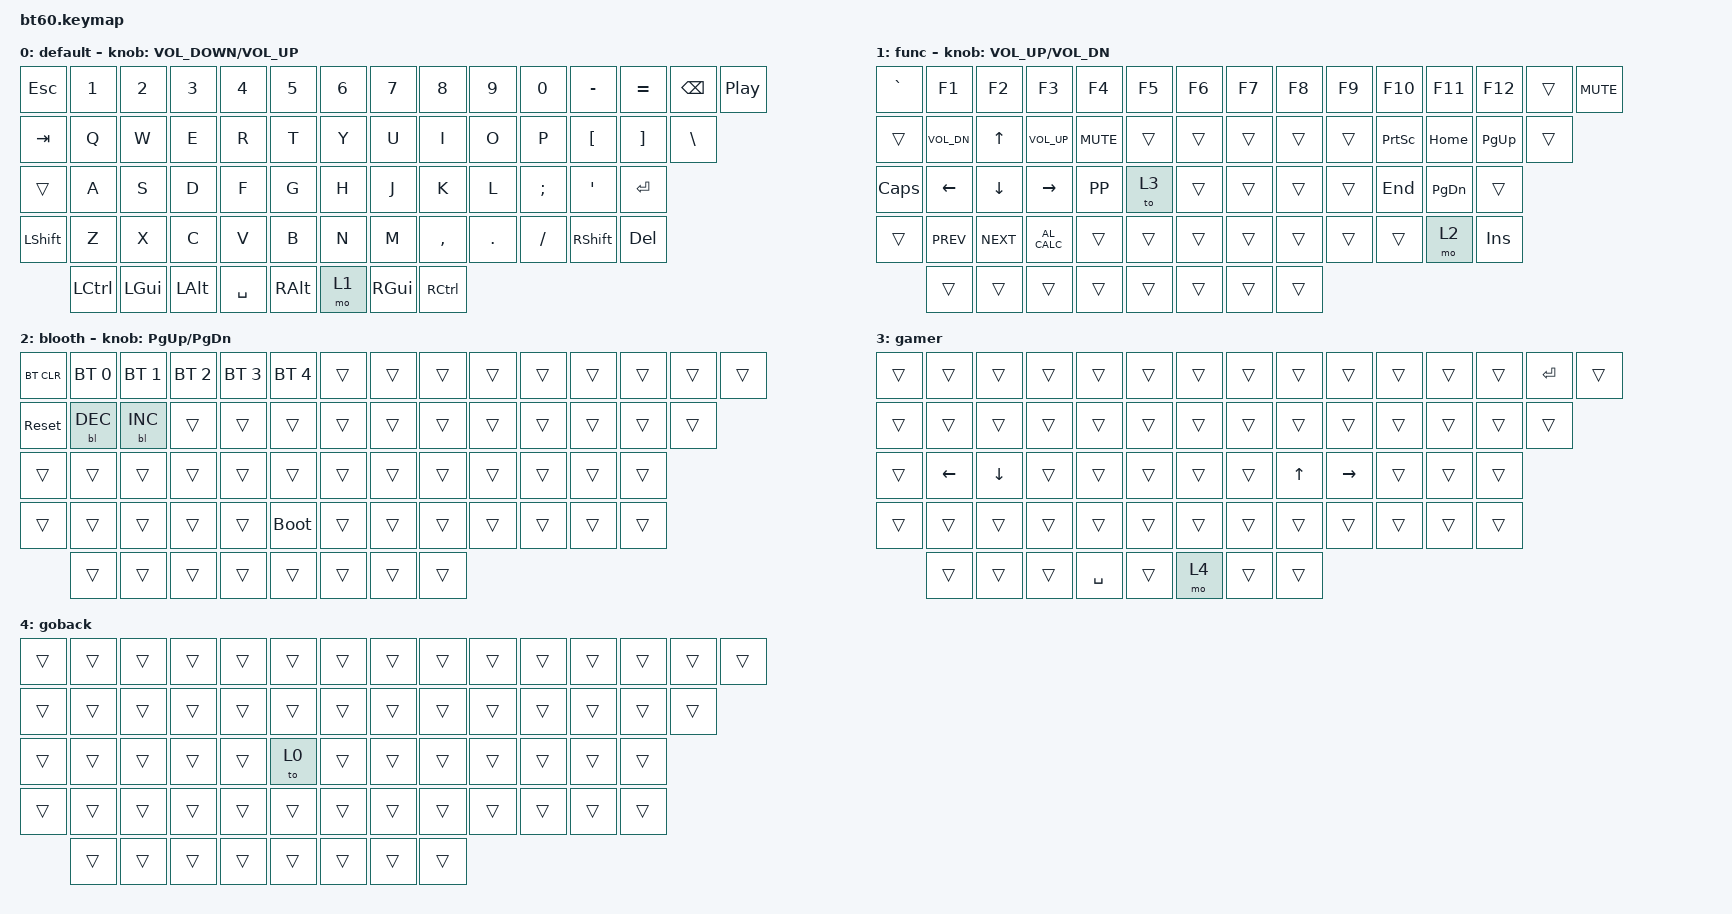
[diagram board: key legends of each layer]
#include <behaviors.dtsi>
#include <dt-bindings/zmk/backlight.h>
#include <dt-bindings/zmk/bt.h>
#include <dt-bindings/zmk/keys.h>

/ {
    keymap {
        compatible = "zmk,keymap";

        default {
            // ------------------------------------------------------------------------------------------
            // | ESC |  1  |  2  |  3  |  4  |  5  |  6  |  7  |  8  |  9  |  0  |  -  |  =  | | |
            // | TAB  |  Q  |  W  |  E  |  R  |  T  |  Y  |  U  |  I  |  O  |  P  |  [  |  ]  |   BKSP |
            // | CAPS  |  A  |  S  |  D  |  F  |  G  |  H  |  J  |  K  |  L  |  ;  |  '  |    ENTER    |
            // |  SHIFT |  Z  |  X  |  C  |  V  |  B  |  N  |  M  |  ,  |  .  | /   |   SHFT   | DEL |
            // |  CTL  |  WIN  |  ALT  |            SPACE              | ALT  | LEFT  |  DOWN |  RIGHT |
            // ------------------------------------------------------------------------------------------

            bindings = <
&kp ESC    &kp N1     &kp N2    &kp N3    &kp N4     &kp N5    &kp N6  &kp N7    &kp N8     &kp N9   &kp N0    &kp MINUS  &kp EQUAL  &kp BACKSPACE  &kp C_PLAY_PAUSE
&kp TAB    &kp Q      &kp W     &kp E     &kp R      &kp T     &kp Y   &kp U     &kp I      &kp O    &kp P     &kp LBKT   &kp RBKT   &kp BSLH
&trans     &kp A      &kp S     &kp D     &kp F      &kp G     &kp H   &kp J     &kp K      &kp L    &kp SEMI  &kp SQT    &kp RET
&kp LSHFT  &kp Z      &kp X     &kp C     &kp V      &kp B     &kp N   &kp M     &kp COMMA  &kp DOT  &kp FSLH  &kp RSHFT  &kp DEL
           &kp LCTRL  &kp LGUI  &kp LALT  &kp SPACE  &kp RALT  &mo 1   &kp RGUI  &kp RCTRL
            >;

            sensor-bindings = <&inc_dec_kp C_VOLUME_DOWN C_VOLUME_UP>;
        };

        func {
            bindings = <
&kp GRAVE  &kp F1        &kp F2      &kp F3         &kp F4      &kp F5  &kp F6  &kp F7  &kp F8  &kp F9  &kp F10    &kp F11    &kp F12    &trans  &kp C_MUTE
&trans     &kp C_VOL_DN  &kp UP      &kp C_VOL_UP   &kp C_MUTE  &trans  &trans  &trans  &trans  &trans  &kp PSCRN  &kp HOME   &kp PG_UP  &trans
&kp CAPS   &kp LEFT      &kp DOWN    &kp RIGHT      &kp K_PP    &to 3   &trans  &trans  &trans  &trans  &kp END    &kp PG_DN  &trans
&trans     &kp K_PREV    &kp K_NEXT  &kp C_AL_CALC  &trans      &trans  &trans  &trans  &trans  &trans  &trans     &mo 2      &kp INS
           &trans        &trans      &trans         &trans      &trans  &trans  &trans  &trans
            >;

            sensor-bindings = <&inc_dec_kp C_VOL_UP C_VOL_DN>;
        };

        blooth {
            bindings = <
&bt BT_CLR  &bt BT_SEL 0  &bt BT_SEL 1  &bt BT_SEL 2  &bt BT_SEL 3  &bt BT_SEL 4  &trans  &trans  &trans  &trans  &trans  &trans  &trans  &trans  &trans
&sys_reset  &bl BL_DEC    &bl BL_INC    &trans        &trans        &trans        &trans  &trans  &trans  &trans  &trans  &trans  &trans  &trans
&trans      &trans        &trans        &trans        &trans        &trans        &trans  &trans  &trans  &trans  &trans  &trans  &trans
&trans      &trans        &trans        &trans        &trans        &bootloader   &trans  &trans  &trans  &trans  &trans  &trans  &trans
            &trans        &trans        &trans        &trans        &trans        &trans  &trans  &trans
            >;

            sensor-bindings = <&inc_dec_kp PAGE_UP PAGE_DOWN>;
        };

        gamer {
            bindings = <
&trans  &trans    &trans    &trans  &trans     &trans  &trans  &trans  &trans  &trans     &trans  &trans  &trans  &kp ENTER  &trans
&trans  &trans    &trans    &trans  &trans     &trans  &trans  &trans  &trans  &trans     &trans  &trans  &trans  &trans
&trans  &kp LEFT  &kp DOWN  &trans  &trans     &trans  &trans  &trans  &kp UP  &kp RIGHT  &trans  &trans  &trans
&trans  &trans    &trans    &trans  &trans     &trans  &trans  &trans  &trans  &trans     &trans  &trans  &trans
        &trans    &trans    &trans  &kp SPACE  &trans  &mo 4   &trans  &trans
            >;
        };

        goback {
            bindings = <
&trans  &trans  &trans  &trans  &trans  &trans  &trans  &trans  &trans  &trans  &trans  &trans  &trans  &trans  &trans
&trans  &trans  &trans  &trans  &trans  &trans  &trans  &trans  &trans  &trans  &trans  &trans  &trans  &trans
&trans  &trans  &trans  &trans  &trans  &to 0   &trans  &trans  &trans  &trans  &trans  &trans  &trans
&trans  &trans  &trans  &trans  &trans  &trans  &trans  &trans  &trans  &trans  &trans  &trans  &trans
        &trans  &trans  &trans  &trans  &trans  &trans  &trans  &trans
            >;
        };
    };
};
